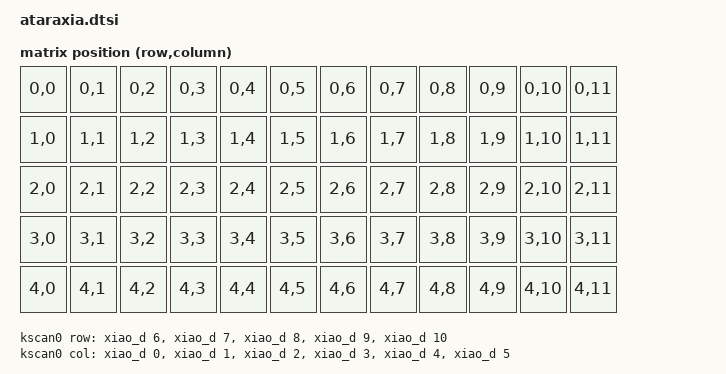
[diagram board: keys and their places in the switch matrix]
#include <dt-bindings/zmk/matrix_transform.h>
#include <dt-bindings/gpio/gpio.h>

/ {
    chosen {
        zmk,kscan = &kscan0;
        zmk,matrix_transform = &default_transform;
    };

    /*
     * DIAGNOSTIC TRANSFORM (temporary).
     * Dense 5 row x 12 column grid: every matrix intersection is mapped to a
     * unique keymap position so each physical key produces a distinct
     * character. Used to reverse-engineer the true wiring of the 4 keys that
     * read as dead. Restore the real sparse transform after diagnosis.
     *
     * Right half (col-offset = 6) decode, character -> kscan (row,col):
     *   A B C D E F = row0 col0..5      G H I J K L = row1 col0..5
     *   M N O P Q R = row2 col0..5      S T U V W X = row3 col0..5
     *   Y Z 1 2 3 4 = row4 col0..5
     */
    default_transform: keymap_transform_0 {
        compatible = "zmk,matrix-transform";
        columns = <12>;
        rows = <5>;
        map = <
            RC(0,0) RC(0,1) RC(0,2) RC(0,3) RC(0,4) RC(0,5)    RC(0,6) RC(0,7) RC(0,8) RC(0,9) RC(0,10) RC(0,11)
            RC(1,0) RC(1,1) RC(1,2) RC(1,3) RC(1,4) RC(1,5)    RC(1,6) RC(1,7) RC(1,8) RC(1,9) RC(1,10) RC(1,11)
            RC(2,0) RC(2,1) RC(2,2) RC(2,3) RC(2,4) RC(2,5)    RC(2,6) RC(2,7) RC(2,8) RC(2,9) RC(2,10) RC(2,11)
            RC(3,0) RC(3,1) RC(3,2) RC(3,3) RC(3,4) RC(3,5)    RC(3,6) RC(3,7) RC(3,8) RC(3,9) RC(3,10) RC(3,11)
            RC(4,0) RC(4,1) RC(4,2) RC(4,3) RC(4,4) RC(4,5)    RC(4,6) RC(4,7) RC(4,8) RC(4,9) RC(4,10) RC(4,11)
        >;
    };

    kscan0: kscan_0 {
        compatible = "zmk,kscan-gpio-matrix";
        diode-direction = "col2row";

        row-gpios
            = <&xiao_d 6 (GPIO_ACTIVE_HIGH | GPIO_PULL_DOWN)>
            , <&xiao_d 7 (GPIO_ACTIVE_HIGH | GPIO_PULL_DOWN)>
            , <&xiao_d 8 (GPIO_ACTIVE_HIGH | GPIO_PULL_DOWN)>
            , <&xiao_d 9 (GPIO_ACTIVE_HIGH | GPIO_PULL_DOWN)>
            , <&xiao_d 10 (GPIO_ACTIVE_HIGH | GPIO_PULL_DOWN)>
            ;

        col-gpios
            = <&xiao_d 0 GPIO_ACTIVE_HIGH>
            , <&xiao_d 1 GPIO_ACTIVE_HIGH>
            , <&xiao_d 2 GPIO_ACTIVE_HIGH>
            , <&xiao_d 3 GPIO_ACTIVE_HIGH>
            , <&xiao_d 4 GPIO_ACTIVE_HIGH>
            , <&xiao_d 5 GPIO_ACTIVE_HIGH>
            ;
    };
};

&uicr {
    nfct-pins-as-gpios;
};
